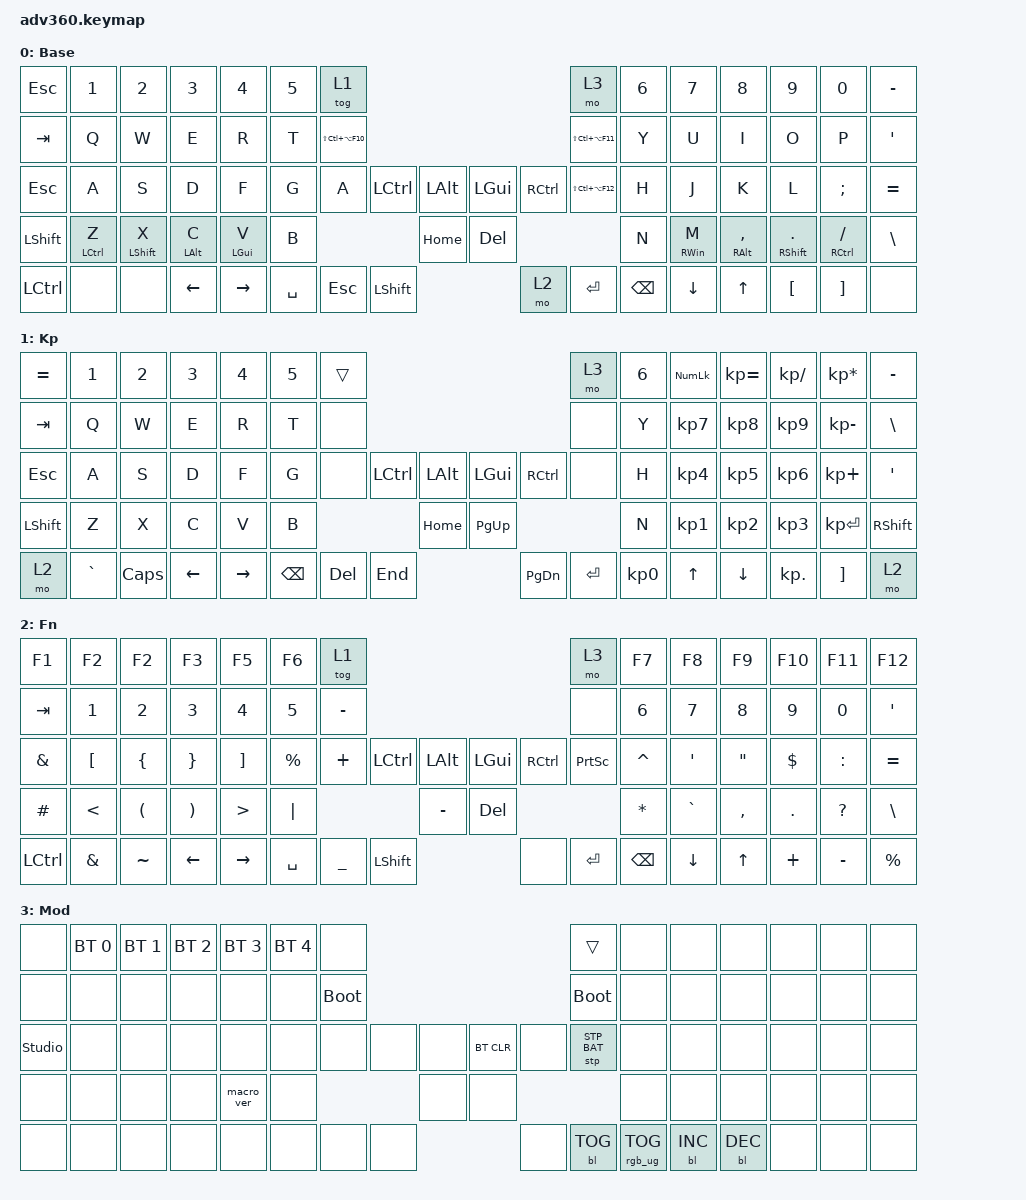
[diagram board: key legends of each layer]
#include <behaviors.dtsi>
#include <dt-bindings/zmk/keys.h>
#include <dt-bindings/zmk/bt.h>
#include <dt-bindings/zmk/rgb.h>
#include <dt-bindings/zmk/stp.h>
#include <dt-bindings/zmk/backlight.h>
#include <dt-bindings/zmk/pointing.h>

/ {
    behaviors {
      #include "macros.dtsi"
      #include "version.dtsi"

      hm: homerow_mods {
          compatible = "zmk,behavior-hold-tap";
          label = "HOMEROW_MODS";
          #binding-cells = <2>;
          tapping-term-ms = <500>;
          quick_tap_ms = <175>;
          flavor = "tap-preferred";
          bindings = <&kp>, <&kp>;
      };
    };

  keymap {
    compatible = "zmk,keymap";

    default_layer {
      display-name = "Base";
      bindings = <
 &kp ESCAPE  &kp N1       &kp N2            &kp N3          &kp N4          &kp N5  &tog 1                                                                           &mo 3                &kp N6  &kp N7           &kp N8               &kp N9               &kp N0          &kp MINUS
 &kp TAB     &kp Q        &kp W             &kp E           &kp R           &kp T   &kp LS(LC(LA(F10)))                                                       &kp LS(LC(LA(F11)))  &kp Y   &kp U            &kp I                &kp O                &kp P           &kp SINGLE_QUOTE
 &kp ESCAPE     &kp A        &kp S             &kp D           &kp F           &kp G   &kp A                      &kp LCTRL   &kp LALT            &kp LGUI  &kp RCTRL  &kp LS(LC(LA(F12)))  &kp H   &kp J            &kp K                &kp L                &kp SEMI        &kp EQUAL
 &kp LEFT_SHIFT   &hm LCTRL Z  &hm LEFT_SHIFT X  &hm LEFT_ALT C  &hm LGUI V  &kp B                                           &kp HOME            &kp DEL                                   &kp N   &hm RIGHT_WIN M  &hm RIGHT_ALT COMMA  &hm RIGHT_SHIFT DOT  &hm RCTRL FSLH  &kp BACKSLASH
 &kp LCTRL   &none        &none             &kp LEFT        &kp RIGHT               &kp SPACE                   &kp ESCAPE  &kp LEFT_SHIFT      &mo 2     &kp ENTER  &kp BACKSPACE                &kp DOWN_ARROW   &kp UP_ARROW         &kp LBKT             &kp RBKT        &none
      >;
    };
    keypad {
      display-name = "Kp";
      bindings = <
        &kp EQUAL &kp N1    &kp N2   &kp N3   &kp N4     &kp N5 &trans                                                           &mo 3 &kp N6 &kp KP_NUM &kp KP_EQUAL &kp KP_DIVIDE &kp KP_MULTIPLY &kp MINUS
        &kp TAB   &kp Q     &kp W    &kp E    &kp R      &kp T  &none                                                            &none &kp Y  &kp KP_N7  &kp KP_N8    &kp KP_N9     &kp KP_MINUS    &kp BSLH
        &kp ESC   &kp A     &kp S    &kp D    &kp F      &kp G  &none           &kp LCTRL &kp LALT &kp LGUI  &kp RCTRL           &none &kp H  &kp KP_N4  &kp KP_N5    &kp KP_N6     &kp KP_PLUS     &kp SQT
        &kp LSHFT &kp Z     &kp X    &kp C    &kp V      &kp B                            &kp HOME &kp PG_UP                           &kp N  &kp KP_N1  &kp KP_N2    &kp KP_N3     &kp KP_ENTER    &kp RSHFT
        &mo 2     &kp GRAVE &kp CAPS &kp LEFT &kp RIGHT                &kp BSPC &kp DEL   &kp END  &kp PG_DN &kp ENTER &kp KP_N0              &kp UP     &kp DOWN     &kp KP_DOT    &kp RBKT        &mo 2
      >;
    };
    fn {
      display-name = "Fn";
      bindings = <
&kp F1         &kp F2            &kp F2                &kp F3                 &kp F5             &kp F6       &tog 1                                                             &mo 3            &kp F7     &kp F8            &kp F9             &kp F10     &kp F11       &kp F12
&kp TAB        &kp N1            &kp N2                &kp N3                 &kp N4             &kp N5       &kp MINUS                                                          &none            &kp N6     &kp N7            &kp N8             &kp N9      &kp N0        &kp SINGLE_QUOTE
&kp AMPERSAND  &kp LEFT_BRACKET  &kp LEFT_BRACE        &kp RIGHT_BRACE        &kp RIGHT_BRACKET  &kp PERCENT  &kp PLUS   &kp LCTRL  &kp LALT            &kp LEFT_GUI  &kp RCTRL  &kp PRINTSCREEN  &kp CARET  &kp SINGLE_QUOTE  &kp DOUBLE_QUOTES  &kp DOLLAR  &kp COLON     &kp EQUAL
&kp POUND      &kp LESS_THAN     &kp LEFT_PARENTHESIS  &kp RIGHT_PARENTHESIS  &kp GREATER_THAN   &kp PIPE                           &kp MINUS           &kp DEL                                   &kp ASTRK  &kp GRAVE         &kp COMMA          &kp DOT     &kp QUESTION  &kp BACKSLASH
&kp LCTRL      &kp AMPERSAND     &kp TILDE             &kp LEFT               &kp RIGHT                       &kp SPACE  &kp UNDER  &kp LEFT_SHIFT      &none         &kp RET    &kp BSPC                    &kp DOWN          &kp UP_ARROW       &kp PLUS    &kp MINUS     &kp PERCENT
      >;
    };
    mod {
      display-name = "Mod";
      bindings = <
        &none &bt BT_SEL 0 &bt BT_SEL 1 &bt BT_SEL 2 &bt BT_SEL 3 &bt BT_SEL 4 &none                                                                     &trans                 &none        &none        &none        &none &none &none
        &none &none        &none        &none        &none        &none        &bootloader                                                               &bootloader            &none        &none        &none        &none &none &none
        &studio_unlock &none        &none        &none        &none        &none        &none                   &none &none &bt BT_CLR &none                      &stp STP_BAT &none        &none        &none        &none &none &none
        &none &none        &none        &none        &macro_ver   &none                                      &none &none                                                        &none        &none        &none        &none &none &none
        &none &none        &none        &none        &none                                       &none &none &none &none      &bl BL_TOG &rgb_ug RGB_TOG                                     &bl BL_INC   &bl BL_DEC   &none &none &none
      >;
    };
    extra1 { 
      display-name = "Red";    
      status = "reserved";
    };

    extra2 { 
      display-name = "Purple";    
      status = "reserved";
    };

    extra3 { 
      display-name = "Cyan";    
      status = "reserved";
    };

    extra4 { 
      display-name = "Yellow";    
      status = "reserved";
    };
  };
};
